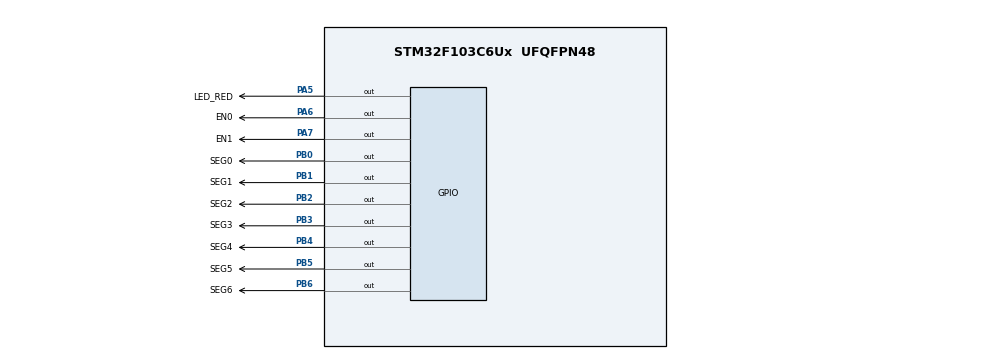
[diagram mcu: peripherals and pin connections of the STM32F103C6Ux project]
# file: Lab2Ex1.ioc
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Mcu.Family=STM32F1
Mcu.Name=STM32F103C6Ux
Mcu.Package=UFQFPN48
NVIC.PriorityGroup=NVIC_PRIORITYGROUP_4
NVIC.TIM2_IRQn=true\:0\:0\:false\:false\:true\:true\:true
PA5.GPIO_Label=LED_RED
PA5.Signal=GPIO_Output
PA6.GPIO_Label=EN0
PA6.Signal=GPIO_Output
PA7.GPIO_Label=EN1
PA7.Signal=GPIO_Output
PB0.GPIO_Label=SEG0
PB0.Signal=GPIO_Output
PB1.GPIO_Label=SEG1
PB1.Signal=GPIO_Output
PB2.GPIO_Label=SEG2
PB2.Signal=GPIO_Output
PB3.GPIO_Label=SEG3
PB3.Signal=GPIO_Output
PB4.GPIO_Label=SEG4
PB4.Signal=GPIO_Output
PB5.GPIO_Label=SEG5
PB5.Signal=GPIO_Output
PB6.GPIO_Label=SEG6
PB6.Signal=GPIO_Output
ProjectManager.HeapSize=0x200
ProjectManager.StackSize=0x400
ProjectManager.TargetToolchain=STM32CubeIDE
RCC.APB1Freq_Value=8000000
RCC.APB2Freq_Value=8000000
TIM2.Period=9
TIM2.Prescaler=7999
VP_SYS_VS_ND.Mode=No_Debug
VP_TIM2_VS_ClockSourceINT.Mode=Internal
board=custom

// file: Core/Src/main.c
/* USER CODE BEGIN Header */
/**
  ******************************************************************************
  * @file           : main.c
  * @brief          : Main program body
  ******************************************************************************
  * @attention
  *
  * <h2><center>&copy; Copyright (c) 2025 STMicroelectronics.
  * All rights reserved.</center></h2>
  *
  * This software component is licensed by ST under BSD 3-Clause license,
  * the "License"; You may not use this file except in compliance with the
  * License. You may obtain a copy of the License at:
  *                        opensource.org/licenses/BSD-3-Clause
  *
  ******************************************************************************
  */
/* USER CODE END Header */
#include "main.h"

TIM_HandleTypeDef htim2;

void SystemClock_Config(void);
static void MX_GPIO_Init(void);
static void MX_TIM2_Init(void);

/* USER CODE BEGIN 0 */

// 7SEG DISPLAY
void display7SEG(int num) {
	switch(num) {
		case 0:
			HAL_GPIO_WritePin(SEG0_GPIO_Port, SEG0_Pin, GPIO_PIN_RESET);
			HAL_GPIO_WritePin(SEG1_GPIO_Port, SEG1_Pin, GPIO_PIN_RESET);
			HAL_GPIO_WritePin(SEG2_GPIO_Port, SEG2_Pin, GPIO_PIN_RESET);
			HAL_GPIO_WritePin(SEG3_GPIO_Port, SEG3_Pin, GPIO_PIN_RESET);
			HAL_GPIO_WritePin(SEG4_GPIO_Port, SEG4_Pin, GPIO_PIN_RESET);
			HAL_GPIO_WritePin(SEG5_GPIO_Port, SEG5_Pin, GPIO_PIN_RESET);
			HAL_GPIO_WritePin(SEG6_GPIO_Port, SEG6_Pin, GPIO_PIN_SET);
			break;
		case 1:
			HAL_GPIO_WritePin(SEG0_GPIO_Port, SEG0_Pin, GPIO_PIN_SET);
			HAL_GPIO_WritePin(SEG1_GPIO_Port, SEG1_Pin, GPIO_PIN_RESET);
			HAL_GPIO_WritePin(SEG2_GPIO_Port, SEG2_Pin, GPIO_PIN_RESET);
			HAL_GPIO_WritePin(SEG3_GPIO_Port, SEG3_Pin, GPIO_PIN_SET);
			HAL_GPIO_WritePin(SEG4_GPIO_Port, SEG4_Pin, GPIO_PIN_SET);
			HAL_GPIO_WritePin(SEG5_GPIO_Port, SEG5_Pin, GPIO_PIN_SET);
			HAL_GPIO_WritePin(SEG6_GPIO_Port, SEG6_Pin, GPIO_PIN_SET);
			break;
		case 2:
			HAL_GPIO_WritePin(SEG0_GPIO_Port, SEG0_Pin, GPIO_PIN_RESET);
			HAL_GPIO_WritePin(SEG1_GPIO_Port, SEG1_Pin, GPIO_PIN_RESET);
			HAL_GPIO_WritePin(SEG2_GPIO_Port, SEG2_Pin, GPIO_PIN_SET);
			HAL_GPIO_WritePin(SEG3_GPIO_Port, SEG3_Pin, GPIO_PIN_RESET);
			HAL_GPIO_WritePin(SEG4_GPIO_Port, SEG4_Pin, GPIO_PIN_RESET);
			HAL_GPIO_WritePin(SEG5_GPIO_Port, SEG5_Pin, GPIO_PIN_SET);
			HAL_GPIO_WritePin(SEG6_GPIO_Port, SEG6_Pin, GPIO_PIN_RESET);
			break;
		case 3:
			HAL_GPIO_WritePin(SEG0_GPIO_Port, SEG0_Pin, GPIO_PIN_RESET);
			HAL_GPIO_WritePin(SEG1_GPIO_Port, SEG1_Pin, GPIO_PIN_RESET);
			HAL_GPIO_WritePin(SEG2_GPIO_Port, SEG2_Pin, GPIO_PIN_RESET);
			HAL_GPIO_WritePin(SEG3_GPIO_Port, SEG3_Pin, GPIO_PIN_RESET);
			HAL_GPIO_WritePin(SEG4_GPIO_Port, SEG4_Pin, GPIO_PIN_SET);
			HAL_GPIO_WritePin(SEG5_GPIO_Port, SEG5_Pin, GPIO_PIN_SET);
			HAL_GPIO_WritePin(SEG6_GPIO_Port, SEG6_Pin, GPIO_PIN_RESET);
			break;
		case 4:
			HAL_GPIO_WritePin(SEG0_GPIO_Port, SEG0_Pin, GPIO_PIN_SET);
			HAL_GPIO_WritePin(SEG1_GPIO_Port, SEG1_Pin, GPIO_PIN_RESET);
			HAL_GPIO_WritePin(SEG2_GPIO_Port, SEG2_Pin, GPIO_PIN_RESET);
			HAL_GPIO_WritePin(SEG3_GPIO_Port, SEG3_Pin, GPIO_PIN_SET);
			HAL_GPIO_WritePin(SEG4_GPIO_Port, SEG4_Pin, GPIO_PIN_SET);
			HAL_GPIO_WritePin(SEG5_GPIO_Port, SEG5_Pin, GPIO_PIN_RESET);
			HAL_GPIO_WritePin(SEG6_GPIO_Port, SEG6_Pin, GPIO_PIN_RESET);
			break;
		case 5:
			HAL_GPIO_WritePin(SEG0_GPIO_Port, SEG0_Pin, GPIO_PIN_RESET);
			HAL_GPIO_WritePin(SEG1_GPIO_Port, SEG1_Pin, GPIO_PIN_SET);
			HAL_GPIO_WritePin(SEG2_GPIO_Port, SEG2_Pin, GPIO_PIN_RESET);
			HAL_GPIO_WritePin(SEG3_GPIO_Port, SEG3_Pin, GPIO_PIN_RESET);
			HAL_GPIO_WritePin(SEG4_GPIO_Port, SEG4_Pin, GPIO_PIN_SET);
			HAL_GPIO_WritePin(SEG5_GPIO_Port, SEG5_Pin, GPIO_PIN_RESET);
			HAL_GPIO_WritePin(SEG6_GPIO_Port, SEG6_Pin, GPIO_PIN_RESET);
			break;
		case 6:
			HAL_GPIO_WritePin(SEG0_GPIO_Port, SEG0_Pin, GPIO_PIN_RESET);
			HAL_GPIO_WritePin(SEG1_GPIO_Port, SEG1_Pin, GPIO_PIN_SET);
			HAL_GPIO_WritePin(SEG2_GPIO_Port, SEG2_Pin, GPIO_PIN_RESET);
			HAL_GPIO_WritePin(SEG3_GPIO_Port, SEG3_Pin, GPIO_PIN_RESET);
			HAL_GPIO_WritePin(SEG4_GPIO_Port, SEG4_Pin, GPIO_PIN_RESET);
			HAL_GPIO_WritePin(SEG5_GPIO_Port, SEG5_Pin, GPIO_PIN_RESET);
			HAL_GPIO_WritePin(SEG6_GPIO_Port, SEG6_Pin, GPIO_PIN_RESET);
			break;
		case 7:
			HAL_GPIO_WritePin(SEG0_GPIO_Port, SEG0_Pin, GPIO_PIN_RESET);
			HAL_GPIO_WritePin(SEG1_GPIO_Port, SEG1_Pin, GPIO_PIN_RESET);
			HAL_GPIO_WritePin(SEG2_GPIO_Port, SEG2_Pin, GPIO_PIN_RESET);
			HAL_GPIO_WritePin(SEG3_GPIO_Port, SEG3_Pin, GPIO_PIN_SET);
			HAL_GPIO_WritePin(SEG4_GPIO_Port, SEG4_Pin, GPIO_PIN_SET);
			HAL_GPIO_WritePin(SEG5_GPIO_Port, SEG5_Pin, GPIO_PIN_SET);
			HAL_GPIO_WritePin(SEG6_GPIO_Port, SEG6_Pin, GPIO_PIN_SET);
			break;
		case 8:
			HAL_GPIO_WritePin(SEG0_GPIO_Port, SEG0_Pin, GPIO_PIN_RESET);
			HAL_GPIO_WritePin(SEG1_GPIO_Port, SEG1_Pin, GPIO_PIN_RESET);
			HAL_GPIO_WritePin(SEG2_GPIO_Port, SEG2_Pin, GPIO_PIN_RESET);
			HAL_GPIO_WritePin(SEG3_GPIO_Port, SEG3_Pin, GPIO_PIN_RESET);
			HAL_GPIO_WritePin(SEG4_GPIO_Port, SEG4_Pin, GPIO_PIN_RESET);
			HAL_GPIO_WritePin(SEG5_GPIO_Port, SEG5_Pin, GPIO_PIN_RESET);
			HAL_GPIO_WritePin(SEG6_GPIO_Port, SEG6_Pin, GPIO_PIN_RESET);
			break;
		case 9:
			HAL_GPIO_WritePin(SEG0_GPIO_Port, SEG0_Pin, GPIO_PIN_RESET);
			HAL_GPIO_WritePin(SEG1_GPIO_Port, SEG1_Pin, GPIO_PIN_RESET);
			HAL_GPIO_WritePin(SEG2_GPIO_Port, SEG2_Pin, GPIO_PIN_RESET);
			HAL_GPIO_WritePin(SEG3_GPIO_Port, SEG3_Pin, GPIO_PIN_RESET);
			HAL_GPIO_WritePin(SEG4_GPIO_Port, SEG4_Pin, GPIO_PIN_SET);
			HAL_GPIO_WritePin(SEG5_GPIO_Port, SEG5_Pin, GPIO_PIN_RESET);
			HAL_GPIO_WritePin(SEG6_GPIO_Port, SEG6_Pin, GPIO_PIN_RESET);
			break;
		default:
			HAL_GPIO_WritePin(SEG0_GPIO_Port, SEG0_Pin, GPIO_PIN_SET);
			HAL_GPIO_WritePin(SEG1_GPIO_Port, SEG1_Pin, GPIO_PIN_SET);
			HAL_GPIO_WritePin(SEG2_GPIO_Port, SEG2_Pin, GPIO_PIN_SET);
			HAL_GPIO_WritePin(SEG3_GPIO_Port, SEG3_Pin, GPIO_PIN_SET);
			HAL_GPIO_WritePin(SEG4_GPIO_Port, SEG4_Pin, GPIO_PIN_SET);
			HAL_GPIO_WritePin(SEG5_GPIO_Port, SEG5_Pin, GPIO_PIN_SET);
			HAL_GPIO_WritePin(SEG6_GPIO_Port, SEG6_Pin, GPIO_PIN_SET);
	};
};

/* USER CODE END 0 */

int main(void)
{

  /* MCU Configuration--------------------------------------------------------*/

  /* Reset of all peripherals, Initializes the Flash interface and the Systick. */
  HAL_Init();

  /* Configure the system clock */
  SystemClock_Config();

  /* Initialize all configured peripherals */
  MX_GPIO_Init();
  MX_TIM2_Init();
  /* USER CODE BEGIN 2 */

  // TIMER INIT FUNCTION
  HAL_TIM_Base_Start_IT(&htim2);

  /* USER CODE END 2 */

  /* Infinite loop */
  while (1)
  {

  }
}

void SystemClock_Config(void)
{
  RCC_OscInitTypeDef RCC_OscInitStruct = {0};
  RCC_ClkInitTypeDef RCC_ClkInitStruct = {0};

  /** Initializes the RCC Oscillators according to the specified parameters
  * in the RCC_OscInitTypeDef structure.
  */
  RCC_OscInitStruct.OscillatorType = RCC_OSCILLATORTYPE_HSI;
  RCC_OscInitStruct.HSIState = RCC_HSI_ON;
  RCC_OscInitStruct.HSICalibrationValue = RCC_HSICALIBRATION_DEFAULT;
  RCC_OscInitStruct.PLL.PLLState = RCC_PLL_NONE;
  if (HAL_RCC_OscConfig(&RCC_OscInitStruct) != HAL_OK)
  {
    Error_Handler();
  }
  /** Initializes the CPU, AHB and APB buses clocks
  */
  RCC_ClkInitStruct.ClockType = RCC_CLOCKTYPE_HCLK|RCC_CLOCKTYPE_SYSCLK
                              |RCC_CLOCKTYPE_PCLK1|RCC_CLOCKTYPE_PCLK2;
  RCC_ClkInitStruct.SYSCLKSource = RCC_SYSCLKSOURCE_HSI;
  RCC_ClkInitStruct.AHBCLKDivider = RCC_SYSCLK_DIV1;
  RCC_ClkInitStruct.APB1CLKDivider = RCC_HCLK_DIV1;
  RCC_ClkInitStruct.APB2CLKDivider = RCC_HCLK_DIV1;

  if (HAL_RCC_ClockConfig(&RCC_ClkInitStruct, FLASH_LATENCY_0) != HAL_OK)
  {
    Error_Handler();
  }
}

static void MX_TIM2_Init(void)
{

  TIM_ClockConfigTypeDef sClockSourceConfig = {0};
  TIM_MasterConfigTypeDef sMasterConfig = {0};

  htim2.Instance = TIM2;
  htim2.Init.Prescaler = 7999;
  htim2.Init.CounterMode = TIM_COUNTERMODE_UP;
  htim2.Init.Period = 9;
  htim2.Init.ClockDivision = TIM_CLOCKDIVISION_DIV1;
  htim2.Init.AutoReloadPreload = TIM_AUTORELOAD_PRELOAD_DISABLE;
  if (HAL_TIM_Base_Init(&htim2) != HAL_OK)
  {
    Error_Handler();
  }
  sClockSourceConfig.ClockSource = TIM_CLOCKSOURCE_INTERNAL;
  if (HAL_TIM_ConfigClockSource(&htim2, &sClockSourceConfig) != HAL_OK)
  {
    Error_Handler();
  }
  sMasterConfig.MasterOutputTrigger = TIM_TRGO_RESET;
  sMasterConfig.MasterSlaveMode = TIM_MASTERSLAVEMODE_DISABLE;
  if (HAL_TIMEx_MasterConfigSynchronization(&htim2, &sMasterConfig) != HAL_OK)
  {
    Error_Handler();
  }

}

static void MX_GPIO_Init(void)
{
  GPIO_InitTypeDef GPIO_InitStruct = {0};

  /* GPIO Ports Clock Enable */
  __HAL_RCC_GPIOA_CLK_ENABLE();
  __HAL_RCC_GPIOB_CLK_ENABLE();

  /*Configure GPIO pin Output Level */
  HAL_GPIO_WritePin(GPIOA, LED_RED_Pin|EN0_Pin|EN1_Pin, GPIO_PIN_RESET);

  /*Configure GPIO pin Output Level */
  HAL_GPIO_WritePin(GPIOB, SEG0_Pin|SEG1_Pin|SEG2_Pin|SEG3_Pin
                          |SEG4_Pin|SEG5_Pin|SEG6_Pin, GPIO_PIN_RESET);

  /*Configure GPIO pins : LED_RED_Pin EN0_Pin EN1_Pin */
  GPIO_InitStruct.Pin = LED_RED_Pin|EN0_Pin|EN1_Pin;
  GPIO_InitStruct.Mode = GPIO_MODE_OUTPUT_PP;
  GPIO_InitStruct.Pull = GPIO_NOPULL;
  GPIO_InitStruct.Speed = GPIO_SPEED_FREQ_LOW;
  HAL_GPIO_Init(GPIOA, &GPIO_InitStruct);

  /*Configure GPIO pins : SEG0_Pin SEG1_Pin SEG2_Pin SEG3_Pin
                           SEG4_Pin SEG5_Pin SEG6_Pin */
  GPIO_InitStruct.Pin = SEG0_Pin|SEG1_Pin|SEG2_Pin|SEG3_Pin
                          |SEG4_Pin|SEG5_Pin|SEG6_Pin;
  GPIO_InitStruct.Mode = GPIO_MODE_OUTPUT_PP;
  GPIO_InitStruct.Pull = GPIO_NOPULL;
  GPIO_InitStruct.Speed = GPIO_SPEED_FREQ_LOW;
  HAL_GPIO_Init(GPIOB, &GPIO_InitStruct);

}

/* USER CODE BEGIN 4 */

int counter = 100;
void HAL_TIM_PeriodElapsedCallback(TIM_HandleTypeDef *htim)
{
	counter--;

	if(counter <= 0)
	{
		// RESET COUNTER
		counter = 100;

		// LED_RED ON
		HAL_GPIO_TogglePin(LED_RED_GPIO_Port, LED_RED_Pin);
		HAL_Delay(500);

		// SET 1
		display7SEG(1);
		// EN0 ON
		HAL_GPIO_WritePin(EN0_GPIO_Port, EN0_Pin, GPIO_PIN_RESET);

		HAL_Delay(500);

		// EN0 OFF
		HAL_GPIO_WritePin(EN0_GPIO_Port, EN0_Pin, GPIO_PIN_SET);

		// SET 2
		display7SEG(2);
		// EN1 ON
		HAL_GPIO_WritePin(EN1_GPIO_Port, EN1_Pin, GPIO_PIN_RESET);

		HAL_Delay(500);

		//EN1 OFF
		HAL_GPIO_WritePin(EN1_GPIO_Port, EN1_Pin, GPIO_PIN_SET);

		// LED_RED OFF
		HAL_GPIO_TogglePin(LED_RED_GPIO_Port, LED_RED_Pin);
		HAL_Delay(500);

	}
}

/* USER CODE END 4 */

void Error_Handler(void)
{
  __disable_irq();
  while (1)
  {
  }
}

/************************ (C) COPYRIGHT STMicroelectronics *****END OF FILE****/
